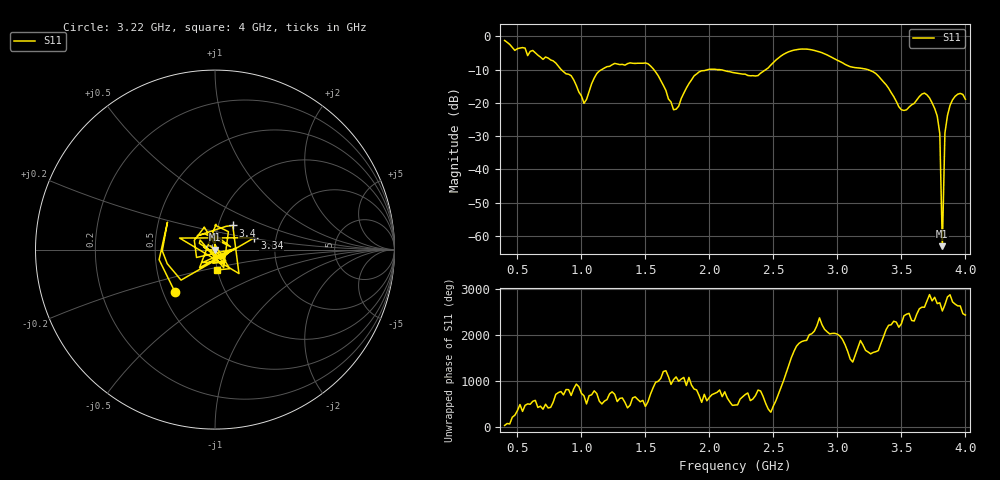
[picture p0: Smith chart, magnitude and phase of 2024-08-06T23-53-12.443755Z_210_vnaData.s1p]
!Created with skrf (http://scikit-rf.org).
# Hz S RI R 50.0
!freq ReS11 ImS11
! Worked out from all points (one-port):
!   181 points, 400 MHz to 4 GHz, reference 50 ohm
!   lowest |S11| = -63.1 dB at 3.82 GHz (marker M1), VSWR 1.00, Z = 50.1 + j0.00704 ohm
!   |S11| at or under -10 dB: 1.567 GHz to 1.986 GHz (419.2 MHz wide, 23.6 % of centre); 2.087 GHz to 2.44 GHz (352.9 MHz wide, 15.6 % of centre); 3.241 GHz to end of sweep (the widest 3 of 4)
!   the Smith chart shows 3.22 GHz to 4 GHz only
!   S11 on the Smith chart (normalised r, x): 3.22 GHz: 0.58, -0.30; 3.34 GHz: 1.54, +0.22; 3.4 GHz: 1.17, +0.32; 4 GHz: 1.00, -0.23
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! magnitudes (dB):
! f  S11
! 400 MHz  -1.2
! 860 MHz  -10.6
! 920 MHz  -11.8
! 1.02 GHz  -20.1
! 1.12 GHz  -11.1
! 1.3 GHz  -8.5
! 1.52 GHz  -8.2
! 1.6 GHz  -11.8
! 1.72 GHz  -22.0
! 1.76 GHz  -21.0
! 1.92 GHz  -10.6
! 2.2 GHz  -10.9
! 2.38 GHz  -11.8
! 2.66 GHz  -4.1
! 3.1 GHz  -9.1
! 3.22 GHz  -9.8
! 3.34 GHz  -12.8
! 3.4 GHz  -15.6
! 3.5 GHz  -22.0
! 3.56 GHz  -21.2
! 3.68 GHz  -17.0
! 3.78 GHz  -23.9
! 3.8 GHz  -29.2
! 3.82 GHz  -63.1
! 3.84 GHz  -29.1
! 3.86 GHz  -23.8
! 3.92 GHz  -18.0
! 4 GHz  -18.9
